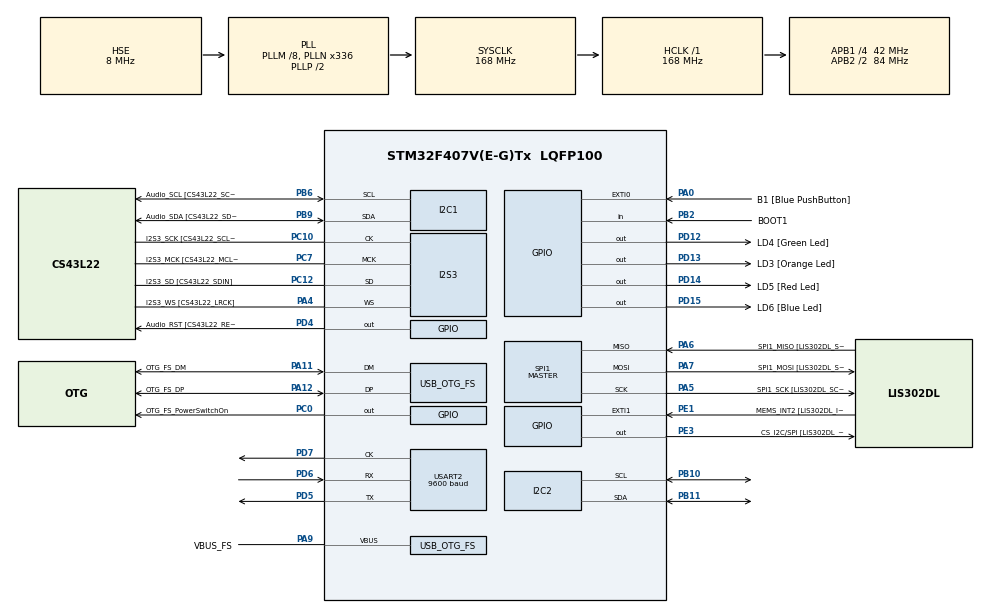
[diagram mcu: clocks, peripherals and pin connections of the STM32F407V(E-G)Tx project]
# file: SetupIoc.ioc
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I2S3.AudioFreq-Half_Duplex_Master=I2S_AUDIOFREQ_96K
I2S3.ErrorAudioFreq=-2.34 %
I2S3.ErrorAudioFreq-Half_Duplex_Master=0.8 %
I2S3.FullDuplexMode=I2S_FULLDUPLEXMODE_DISABLE
I2S3.Instance=SPI$Index
I2S3.RealAudioFreq=93.75 KHz
I2S3.RealAudioFreq-Half_Duplex_Master=96.774 KHz
I2S3.VirtualMode=I2S_MODE_MASTER
Mcu.Family=STM32F4
Mcu.Name=STM32F407V(E-G)Tx
Mcu.Package=LQFP100
NVIC.OTG_FS_IRQn=true\:0\:0\:false\:false\:true\:true\:true\:true
NVIC.PriorityGroup=NVIC_PRIORITYGROUP_0
PA0-WKUP.GPIO_Label=B1 [Blue PushButton]
PA0-WKUP.GPIO_ModeDefaultEXTI=GPIO_MODE_EVT_RISING
PA0-WKUP.GPIO_PuPd=GPIO_NOPULL
PA0-WKUP.Signal=GPXTI0
PA10.GPIO_Label=OTG_FS_ID
PA10.GPIO_Mode=GPIO_MODE_AF_PP
PA10.GPIO_PuPd=GPIO_NOPULL
PA10.GPIO_Speed=GPIO_SPEED_FREQ_LOW
PA10.Signal=USB_OTG_FS_ID
PA11.GPIO_Label=OTG_FS_DM
PA11.GPIO_Mode=GPIO_MODE_AF_PP
PA11.GPIO_PuPd=GPIO_NOPULL
PA11.GPIO_Speed=GPIO_SPEED_FREQ_LOW
PA11.Mode=Host_Only
PA11.Signal=USB_OTG_FS_DM
PA12.GPIO_Label=OTG_FS_DP
PA12.GPIO_Mode=GPIO_MODE_AF_PP
PA12.GPIO_PuPd=GPIO_NOPULL
PA12.GPIO_Speed=GPIO_SPEED_FREQ_LOW
PA12.Mode=Host_Only
PA12.Signal=USB_OTG_FS_DP
PA13.GPIO_Label=SWDIO
PA13.Mode=Serial_Wire
PA13.Signal=SYS_JTMS-SWDIO
PA14.GPIO_Label=SWCLK
PA14.Mode=Serial_Wire
PA14.Signal=SYS_JTCK-SWCLK
PA4.GPIO_Label=I2S3_WS [CS43L22_LRCK]
PA4.GPIO_Mode=GPIO_MODE_AF_PP
PA4.GPIO_PuPd=GPIO_NOPULL
PA4.GPIO_Speed=GPIO_SPEED_FREQ_LOW
PA4.Mode=Half_Duplex_Master
PA4.Signal=I2S3_WS
PA5.GPIO_Label=SPI1_SCK [LIS302DL_SCL/SPC]
PA5.GPIO_Mode=GPIO_MODE_AF_PP
PA5.GPIO_PuPd=GPIO_NOPULL
PA5.GPIO_Speed=GPIO_SPEED_FREQ_LOW
PA5.Mode=Full_Duplex_Master
PA5.Signal=SPI1_SCK
PA6.GPIO_Label=SPI1_MISO [LIS302DL_SDO]
PA6.GPIO_Mode=GPIO_MODE_AF_PP
PA6.GPIO_PuPd=GPIO_NOPULL
PA6.GPIO_Speed=GPIO_SPEED_FREQ_LOW
PA6.Mode=Full_Duplex_Master
PA6.Signal=SPI1_MISO
PA7.GPIO_Label=SPI1_MOSI [LIS302DL_SDA/SDI/SDO]
PA7.GPIO_Mode=GPIO_MODE_AF_PP
PA7.GPIO_PuPd=GPIO_NOPULL
PA7.GPIO_Speed=GPIO_SPEED_FREQ_LOW
PA7.Mode=Full_Duplex_Master
PA7.Signal=SPI1_MOSI
PA9.GPIO_Label=VBUS_FS
PA9.GPIO_Mode=GPIO_MODE_INPUT
PA9.GPIO_PuPd=GPIO_NOPULL
PA9.Mode=Activate_VBUS
PA9.Signal=USB_OTG_FS_VBUS
PB10.Mode=I2C
PB10.Signal=I2C2_SCL
PB11.Mode=I2C
PB11.Signal=I2C2_SDA
PB2.GPIO_Label=BOOT1
PB2.GPIO_Mode=GPIO_MODE_INPUT
PB2.GPIO_PuPd=GPIO_NOPULL
PB2.Signal=GPIO_Input
PB3.GPIO_Label=SWO
PB3.Signal=SYS_JTDO-SWO
PB6.GPIO_Label=Audio_SCL [CS43L22_SCL]
PB6.GPIO_Mode=GPIO_MODE_AF_OD
PB6.GPIO_Pu=GPIO_PULLUP
PB6.GPIO_PuPd=GPIO_NOPULL
PB6.GPIO_Speed=GPIO_SPEED_FREQ_LOW
PB6.Mode=I2C
PB6.Signal=I2C1_SCL
PB9.GPIO_Label=Audio_SDA [CS43L22_SDA]
PB9.GPIO_Mode=GPIO_MODE_AF_OD
PB9.GPIO_Pu=GPIO_PULLUP
PB9.GPIO_PuPd=GPIO_NOPULL
PB9.GPIO_Speed=GPIO_SPEED_FREQ_LOW
PB9.Mode=I2C
PB9.Signal=I2C1_SDA
PC0.GPIO_Label=OTG_FS_PowerSwitchOn
PC0.GPIO_PuPd=GPIO_NOPULL
PC0.GPIO_Speed=GPIO_SPEED_FREQ_LOW
PC0.PinState=GPIO_PIN_SET
PC0.Signal=GPIO_Output
PC10.GPIO_Label=I2S3_SCK [CS43L22_SCLK]
PC10.GPIO_Mode=GPIO_MODE_AF_PP
PC10.GPIO_PuPd=GPIO_NOPULL
PC10.GPIO_Speed=GPIO_SPEED_FREQ_LOW
PC10.Mode=Half_Duplex_Master
PC10.Signal=I2S3_CK
PC12.GPIO_Label=I2S3_SD [CS43L22_SDIN]
PC12.GPIO_Mode=GPIO_MODE_AF_PP
PC12.GPIO_PuPd=GPIO_NOPULL
PC12.GPIO_Speed=GPIO_SPEED_FREQ_LOW
PC12.Mode=Half_Duplex_Master
PC12.Signal=I2S3_SD
PC14-OSC32_IN.GPIO_Label=PC14-OSC32_IN
PC14-OSC32_IN.Mode=LSE-External-Oscillator
PC14-OSC32_IN.Signal=RCC_OSC32_IN
PC15-OSC32_OUT.GPIO_Label=PC15-OSC32_OUT
PC15-OSC32_OUT.Mode=LSE-External-Oscillator
PC15-OSC32_OUT.Signal=RCC_OSC32_OUT
PC3.GPIO_Label=PDM_OUT [MP45DT02_DOUT]
PC3.GPIO_Mode=GPIO_MODE_AF_PP
PC3.GPIO_PuPd=GPIO_NOPULL
PC3.GPIO_Speed=GPIO_SPEED_FREQ_LOW
PC3.Signal=I2S2_SD
PC7.GPIO_Label=I2S3_MCK [CS43L22_MCLK]
PC7.GPIO_Mode=GPIO_MODE_AF_PP
PC7.GPIO_PuPd=GPIO_NOPULL
PC7.GPIO_Speed=GPIO_SPEED_FREQ_LOW
PC7.Mode=Master_Clock_Activated
PC7.Signal=I2S3_MCK
PD12.GPIO_Label=LD4 [Green Led]
PD12.GPIO_PuPd=GPIO_NOPULL
PD12.GPIO_Speed=GPIO_SPEED_FREQ_LOW
PD12.Signal=GPIO_Output
PD13.GPIO_Label=LD3 [Orange Led]
PD13.GPIO_PuPd=GPIO_NOPULL
PD13.GPIO_Speed=GPIO_SPEED_FREQ_LOW
PD13.Signal=GPIO_Output
PD14.GPIO_Label=LD5 [Red Led]
PD14.GPIO_PuPd=GPIO_NOPULL
PD14.GPIO_Speed=GPIO_SPEED_FREQ_LOW
PD14.Signal=GPIO_Output
PD15.GPIO_Label=LD6 [Blue Led]
PD15.GPIO_PuPd=GPIO_NOPULL
PD15.GPIO_Speed=GPIO_SPEED_FREQ_LOW
PD15.Signal=GPIO_Output
PD4.GPIO_Label=Audio_RST [CS43L22_RESET]
PD4.GPIO_PuPd=GPIO_NOPULL
PD4.GPIO_Speed=GPIO_SPEED_FREQ_LOW
PD4.Signal=GPIO_Output
PD5.Mode=Synchronous
PD5.Signal=USART2_TX
PD6.Mode=Synchronous
PD6.Signal=USART2_RX
PD7.Mode=Synchronous
PD7.Signal=USART2_CK
PE1.GPIO_Label=MEMS_INT2 [LIS302DL_INT2]
PE1.GPIO_ModeDefaultEXTI=GPIO_MODE_EVT_RISING
PE1.GPIO_PuPd=GPIO_NOPULL
PE1.Signal=GPXTI1
PE3.GPIO_Label=CS_I2C/SPI [LIS302DL_CS_I2C/SPI]
PE3.GPIO_PuPd=GPIO_NOPULL
PE3.GPIO_Speed=GPIO_SPEED_FREQ_LOW
PE3.Signal=GPIO_Output
PH0-OSC_IN.GPIO_Label=PH0-OSC_IN
PH0-OSC_IN.Mode=HSE-External-Oscillator
PH0-OSC_IN.Signal=RCC_OSC_IN
PH1-OSC_OUT.GPIO_Label=PH1-OSC_OUT
PH1-OSC_OUT.Mode=HSE-External-Oscillator
PH1-OSC_OUT.Signal=RCC_OSC_OUT
ProjectManager.HeapSize=0x200
ProjectManager.StackSize=0x400
ProjectManager.TargetToolchain=STM32CubeIDE
RCC.48MHZClocksFreq_Value=48000000
RCC.AHBFreq_Value=168000000
RCC.APB1CLKDivider=RCC_HCLK_DIV4
RCC.APB1Freq_Value=42000000
RCC.APB1TimFreq_Value=84000000
RCC.APB2CLKDivider=RCC_HCLK_DIV2
RCC.APB2Freq_Value=84000000
RCC.APB2TimFreq_Value=168000000
RCC.CortexFreq_Value=168000000
RCC.HCLKFreq_Value=168000000
RCC.HSE_VALUE=8000000
RCC.HSI_VALUE=16000000
RCC.PLLM=8
RCC.PLLN=336
RCC.PLLQ=7
RCC.SYSCLKFreq_VALUE=168000000
RCC.SYSCLKSource=RCC_SYSCLKSOURCE_PLLCLK
RCC.VCOOutputFreq_Value=336000000
SPI1.BaudRatePrescaler-Full_Duplex_Master=SPI_BAUDRATEPRESCALER_2
SPI1.CalculateBaudRate-Full_Duplex_Master=42.0 MBits/s
SPI1.Direction=SPI_DIRECTION_2LINES
SPI1.Mode=SPI_MODE_MASTER
SPI1.Mode-Full_Duplex_Master=SPI_MODE_MASTER
SPI1.VirtualType=VM_MASTER
USART2.BaudRate=9600
USART2.VirtualMode=VM_SYNC
USB_HOST.BSP.number=1
USB_HOST.USBH_HandleTypeDef-CDC_FS=hUsbHostFS
USB_HOST.VirtualModeFS=Cdc
USB_HOST0.BSP.STBoard=false
USB_HOST0.BSP.api=Unknown
USB_HOST0.BSP.instance=PC0
USB_HOST0.BSP.ip=GPIO
USB_HOST0.BSP.mode=Output
USB_HOST0.BSP.name=Drive_VBUS_FS
USB_HOST0.BSP.solution=PC0
USB_OTG_FS.VirtualMode=Host_Only
USB_OTG_FS.phy_itface=HCD_PHY_EMBEDDED
VP_USB_HOST_VS_USB_HOST_CDC_FS.Mode=CDC_FS
board=STM32F407G-DISC1

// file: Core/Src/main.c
/* USER CODE BEGIN Header */
/**
  ******************************************************************************
  * @file           : main.c
  * @brief          : Main program body
  ******************************************************************************
  * @attention
  *
  * Copyright (c) 2022 STMicroelectronics.
  * All rights reserved.
  *
  * This software is licensed under terms that can be found in the LICENSE file
  * in the root directory of this software component.
  * If no LICENSE file comes with this software, it is provided AS-IS.
  *
  ******************************************************************************
  */
/* USER CODE END Header */
#include "main.h"
#include "usb_host.h"

/* USER CODE BEGIN Includes */

#include <stdio.h>
#include <string.h>
#include <math.h>

/* USER CODE END Includes */

/* USER CODE BEGIN PD */
#define MIN_TEMP 23.0
#define MAX_TEMP 30.0
#define MID_TEMP 26.0
/* USER CODE END PD */

I2C_HandleTypeDef hi2c1;
I2C_HandleTypeDef hi2c2;

I2S_HandleTypeDef hi2s3;

SPI_HandleTypeDef hspi1;

USART_HandleTypeDef husart2;

void SystemClock_Config(void);
static void MX_GPIO_Init(void);
static void MX_I2C1_Init(void);
static void MX_I2S3_Init(void);
static void MX_SPI1_Init(void);
static void MX_USART2_Init(void);
static void MX_I2C2_Init(void);
void MX_USB_HOST_Process(void);

/* USER CODE BEGIN PFP */
#define PUTCHAR_PROTOTYPE int __io_putchar(int ch)
/* USER CODE END PFP */

/* USER CODE BEGIN 0 */

int globalPosition = 0;
volatile int bState;
static unsigned int numOfRequests = 0;
volatile double desiredTemp = MID_TEMP;

double calculate_Temp(uint8_t* buffer)
{
	uint8_t sign = *buffer >> 7;
	uint8_t whole = 0;
	uint8_t decimal = 0;
	double temp = 0.0;

	if(*(buffer + 1) != 0)
		decimal = 5;

	whole = (*buffer) & 0x7F;

	if(sign == 1) {
		printf("Trenutna: -%u.%u C ", (uint8_t)whole, (uint8_t)decimal);
	} else {
		printf("Trenutna: %u.%u°C ", (uint8_t)whole, (uint8_t)decimal);
	}

	if(*(buffer + 1) != 0)
		temp = 0.5;

	temp = temp + whole;
	if(sign == 1)
		temp = -temp;

	return temp;
}

int point(double temp) {
	if((int)temp != ceil(temp))
		return 5;
	return 0;
}

void init_EXTI4() {
	NVIC_SetPriority(EXTI4_IRQn, 6);
	NVIC_EnableIRQ(EXTI4_IRQn);

	SYSCFG->EXTICR[1] |= 0x4;
	EXTI->FTSR |= 1 << 4;
	EXTI->IMR |= 1UL << 4;
}

void serveEncoder(void)
{
	if(bState == 1)
		globalPosition++;
	else
		globalPosition--;

	if(MID_TEMP + 0.5 * globalPosition < MIN_TEMP) {
		globalPosition++;
		return;
	}

	if(MID_TEMP + 0.5 * globalPosition > MAX_TEMP) {
		globalPosition--;
		return;
	}

	desiredTemp = MID_TEMP + 0.5 * globalPosition;
}

void __attribute__((interrupt)) EXTI4_IRQHandler(void) {
	bState = (GPIOE->IDR >> 5) & 0x1;

	serveEncoder();

	printf("Interrupt number: %u \r\n", numOfRequests++);
	EXTI->PR |= (1 << 4);
}

/* USER CODE END 0 */

int main(void)
{

  /* MCU Configuration--------------------------------------------------------*/

  /* Reset of all peripherals, Initializes the Flash interface and the Systick. */
  HAL_Init();

  /* Configure the system clock */
  SystemClock_Config();

  /* USER CODE BEGIN SysInit */
  RCC->APB2ENR |= (0x1 << 14);
  RCC->AHB1ENR |= (0x1 << 4);
  RCC->AHB1ENR |= (0x1 << 3);
  RCC->AHB1ENR |= (0x1 << 2);
  volatile uint32_t tmp = RCC->AHB1ENR;
  GPIOC->MODER |= (0x1 << 2);
  GPIOD->MODER |= (0x0);
  GPIOE->MODER |= (0x0 << 8);
  GPIOE->MODER |= (0x0 << 10);

  /* USER CODE END SysInit */

  /* Initialize all configured peripherals */
  MX_GPIO_Init();
  MX_I2C1_Init();
  MX_I2S3_Init();
  MX_SPI1_Init();
  MX_USB_HOST_Init();
  MX_USART2_Init();
  MX_I2C2_Init();
  /* USER CODE BEGIN 2 */

  init_EXTI4();

  static const uint8_t THERMOMETER_SLAVE_ADDR = 0b01001000 << 1;
  static const uint8_t THERMOMETER_REG = 0x00;

  HAL_StatusTypeDef ret;
  uint8_t buffer[12];
  volatile double currentTemp = 0.0;

  /* USER CODE END 2 */

  /* Infinite loop */
  /* USER CODE BEGIN WHILE */
  while (1)
  {
	  buffer[0] = THERMOMETER_REG;
	  ret = HAL_I2C_Master_Transmit(&hi2c2, THERMOMETER_SLAVE_ADDR, buffer, 1, HAL_MAX_DELAY);

	  if(ret != HAL_OK) {
		  strcpy ((char*) buffer, "Error Tx \r\n");
	  } else {
		  ret = HAL_I2C_Master_Receive(&hi2c2, THERMOMETER_SLAVE_ADDR, buffer, 2, HAL_MAX_DELAY);

		  if(ret != HAL_OK) {
			  strcpy((char*) buffer, "Error Tx \r\n");
		  } else {
			  currentTemp = calculate_Temp(buffer);
		  }
	  }

	  printf("| Željena: %u.%u °C\r\n", (int)desiredTemp, point(desiredTemp));

	  if(currentTemp < desiredTemp || tmp == 0)
		  GPIOC->ODR |= (0x1 << 1);
	  else
		  GPIOC->ODR &= ~(0x1 << 1);

	  HAL_Delay(300);
    /* USER CODE END WHILE */
	  MX_USB_HOST_Process();

  }
}

void SystemClock_Config(void)
{
  RCC_OscInitTypeDef RCC_OscInitStruct = {0};
  RCC_ClkInitTypeDef RCC_ClkInitStruct = {0};

  /** Configure the main internal regulator output voltage
  */
  __HAL_RCC_PWR_CLK_ENABLE();
  __HAL_PWR_VOLTAGESCALING_CONFIG(PWR_REGULATOR_VOLTAGE_SCALE1);

  /** Initializes the RCC Oscillators according to the specified parameters
  * in the RCC_OscInitTypeDef structure.
  */
  RCC_OscInitStruct.OscillatorType = RCC_OSCILLATORTYPE_HSE;
  RCC_OscInitStruct.HSEState = RCC_HSE_ON;
  RCC_OscInitStruct.PLL.PLLState = RCC_PLL_ON;
  RCC_OscInitStruct.PLL.PLLSource = RCC_PLLSOURCE_HSE;
  RCC_OscInitStruct.PLL.PLLM = 8;
  RCC_OscInitStruct.PLL.PLLN = 336;
  RCC_OscInitStruct.PLL.PLLP = RCC_PLLP_DIV2;
  RCC_OscInitStruct.PLL.PLLQ = 7;
  if (HAL_RCC_OscConfig(&RCC_OscInitStruct) != HAL_OK)
  {
    Error_Handler();
  }

  /** Initializes the CPU, AHB and APB buses clocks
  */
  RCC_ClkInitStruct.ClockType = RCC_CLOCKTYPE_HCLK|RCC_CLOCKTYPE_SYSCLK
                              |RCC_CLOCKTYPE_PCLK1|RCC_CLOCKTYPE_PCLK2;
  RCC_ClkInitStruct.SYSCLKSource = RCC_SYSCLKSOURCE_PLLCLK;
  RCC_ClkInitStruct.AHBCLKDivider = RCC_SYSCLK_DIV1;
  RCC_ClkInitStruct.APB1CLKDivider = RCC_HCLK_DIV4;
  RCC_ClkInitStruct.APB2CLKDivider = RCC_HCLK_DIV2;

  if (HAL_RCC_ClockConfig(&RCC_ClkInitStruct, FLASH_LATENCY_5) != HAL_OK)
  {
    Error_Handler();
  }
}

static void MX_I2C1_Init(void)
{

  hi2c1.Instance = I2C1;
  hi2c1.Init.ClockSpeed = 100000;
  hi2c1.Init.DutyCycle = I2C_DUTYCYCLE_2;
  hi2c1.Init.OwnAddress1 = 0;
  hi2c1.Init.AddressingMode = I2C_ADDRESSINGMODE_7BIT;
  hi2c1.Init.DualAddressMode = I2C_DUALADDRESS_DISABLE;
  hi2c1.Init.OwnAddress2 = 0;
  hi2c1.Init.GeneralCallMode = I2C_GENERALCALL_DISABLE;
  hi2c1.Init.NoStretchMode = I2C_NOSTRETCH_DISABLE;
  if (HAL_I2C_Init(&hi2c1) != HAL_OK)
  {
    Error_Handler();
  }

}

static void MX_I2C2_Init(void)
{

  hi2c2.Instance = I2C2;
  hi2c2.Init.ClockSpeed = 100000;
  hi2c2.Init.DutyCycle = I2C_DUTYCYCLE_2;
  hi2c2.Init.OwnAddress1 = 0;
  hi2c2.Init.AddressingMode = I2C_ADDRESSINGMODE_7BIT;
  hi2c2.Init.DualAddressMode = I2C_DUALADDRESS_DISABLE;
  hi2c2.Init.OwnAddress2 = 0;
  hi2c2.Init.GeneralCallMode = I2C_GENERALCALL_DISABLE;
  hi2c2.Init.NoStretchMode = I2C_NOSTRETCH_DISABLE;
  if (HAL_I2C_Init(&hi2c2) != HAL_OK)
  {
    Error_Handler();
  }

}

static void MX_I2S3_Init(void)
{

  hi2s3.Instance = SPI3;
  hi2s3.Init.Mode = I2S_MODE_MASTER_TX;
  hi2s3.Init.Standard = I2S_STANDARD_PHILIPS;
  hi2s3.Init.DataFormat = I2S_DATAFORMAT_16B;
  hi2s3.Init.MCLKOutput = I2S_MCLKOUTPUT_ENABLE;
  hi2s3.Init.AudioFreq = I2S_AUDIOFREQ_96K;
  hi2s3.Init.CPOL = I2S_CPOL_LOW;
  hi2s3.Init.ClockSource = I2S_CLOCK_PLL;
  hi2s3.Init.FullDuplexMode = I2S_FULLDUPLEXMODE_DISABLE;
  if (HAL_I2S_Init(&hi2s3) != HAL_OK)
  {
    Error_Handler();
  }

}

static void MX_SPI1_Init(void)
{

  /* SPI1 parameter configuration*/
  hspi1.Instance = SPI1;
  hspi1.Init.Mode = SPI_MODE_MASTER;
  hspi1.Init.Direction = SPI_DIRECTION_2LINES;
  hspi1.Init.DataSize = SPI_DATASIZE_8BIT;
  hspi1.Init.CLKPolarity = SPI_POLARITY_LOW;
  hspi1.Init.CLKPhase = SPI_PHASE_1EDGE;
  hspi1.Init.NSS = SPI_NSS_SOFT;
  hspi1.Init.BaudRatePrescaler = SPI_BAUDRATEPRESCALER_2;
  hspi1.Init.FirstBit = SPI_FIRSTBIT_MSB;
  hspi1.Init.TIMode = SPI_TIMODE_DISABLE;
  hspi1.Init.CRCCalculation = SPI_CRCCALCULATION_DISABLE;
  hspi1.Init.CRCPolynomial = 10;
  if (HAL_SPI_Init(&hspi1) != HAL_OK)
  {
    Error_Handler();
  }

}

static void MX_USART2_Init(void)
{

  husart2.Instance = USART2;
  husart2.Init.BaudRate = 9600;
  husart2.Init.WordLength = USART_WORDLENGTH_8B;
  husart2.Init.StopBits = USART_STOPBITS_1;
  husart2.Init.Parity = USART_PARITY_NONE;
  husart2.Init.Mode = USART_MODE_TX_RX;
  husart2.Init.CLKPolarity = USART_POLARITY_LOW;
  husart2.Init.CLKPhase = USART_PHASE_1EDGE;
  husart2.Init.CLKLastBit = USART_LASTBIT_DISABLE;
  if (HAL_USART_Init(&husart2) != HAL_OK)
  {
    Error_Handler();
  }

}

static void MX_GPIO_Init(void)
{
  GPIO_InitTypeDef GPIO_InitStruct = {0};

  /* GPIO Ports Clock Enable */
  __HAL_RCC_GPIOE_CLK_ENABLE();
  __HAL_RCC_GPIOC_CLK_ENABLE();
  __HAL_RCC_GPIOH_CLK_ENABLE();
  __HAL_RCC_GPIOA_CLK_ENABLE();
  __HAL_RCC_GPIOB_CLK_ENABLE();
  __HAL_RCC_GPIOD_CLK_ENABLE();

  /*Configure GPIO pin Output Level */
  HAL_GPIO_WritePin(CS_I2C_SPI_GPIO_Port, CS_I2C_SPI_Pin, GPIO_PIN_RESET);

  /*Configure GPIO pin Output Level */
  HAL_GPIO_WritePin(OTG_FS_PowerSwitchOn_GPIO_Port, OTG_FS_PowerSwitchOn_Pin, GPIO_PIN_SET);

  /*Configure GPIO pin Output Level */
  HAL_GPIO_WritePin(GPIOD, LD4_Pin|LD3_Pin|LD5_Pin|LD6_Pin
                          |Audio_RST_Pin, GPIO_PIN_RESET);

  /*Configure GPIO pin : CS_I2C_SPI_Pin */
  GPIO_InitStruct.Pin = CS_I2C_SPI_Pin;
  GPIO_InitStruct.Mode = GPIO_MODE_OUTPUT_PP;
  GPIO_InitStruct.Pull = GPIO_NOPULL;
  GPIO_InitStruct.Speed = GPIO_SPEED_FREQ_LOW;
  HAL_GPIO_Init(CS_I2C_SPI_GPIO_Port, &GPIO_InitStruct);

  /*Configure GPIO pin : OTG_FS_PowerSwitchOn_Pin */
  GPIO_InitStruct.Pin = OTG_FS_PowerSwitchOn_Pin;
  GPIO_InitStruct.Mode = GPIO_MODE_OUTPUT_PP;
  GPIO_InitStruct.Pull = GPIO_NOPULL;
  GPIO_InitStruct.Speed = GPIO_SPEED_FREQ_LOW;
  HAL_GPIO_Init(OTG_FS_PowerSwitchOn_GPIO_Port, &GPIO_InitStruct);

  /*Configure GPIO pin : PDM_OUT_Pin */
  GPIO_InitStruct.Pin = PDM_OUT_Pin;
  GPIO_InitStruct.Mode = GPIO_MODE_AF_PP;
  GPIO_InitStruct.Pull = GPIO_NOPULL;
  GPIO_InitStruct.Speed = GPIO_SPEED_FREQ_LOW;
  GPIO_InitStruct.Alternate = GPIO_AF5_SPI2;
  HAL_GPIO_Init(PDM_OUT_GPIO_Port, &GPIO_InitStruct);

  /*Configure GPIO pin : B1_Pin */
  GPIO_InitStruct.Pin = B1_Pin;
  GPIO_InitStruct.Mode = GPIO_MODE_EVT_RISING;
  GPIO_InitStruct.Pull = GPIO_NOPULL;
  HAL_GPIO_Init(B1_GPIO_Port, &GPIO_InitStruct);

  /*Configure GPIO pin : BOOT1_Pin */
  GPIO_InitStruct.Pin = BOOT1_Pin;
  GPIO_InitStruct.Mode = GPIO_MODE_INPUT;
  GPIO_InitStruct.Pull = GPIO_NOPULL;
  HAL_GPIO_Init(BOOT1_GPIO_Port, &GPIO_InitStruct);

  /*Configure GPIO pins : LD4_Pin LD3_Pin LD5_Pin LD6_Pin
                           Audio_RST_Pin */
  GPIO_InitStruct.Pin = LD4_Pin|LD3_Pin|LD5_Pin|LD6_Pin
                          |Audio_RST_Pin;
  GPIO_InitStruct.Mode = GPIO_MODE_OUTPUT_PP;
  GPIO_InitStruct.Pull = GPIO_NOPULL;
  GPIO_InitStruct.Speed = GPIO_SPEED_FREQ_LOW;
  HAL_GPIO_Init(GPIOD, &GPIO_InitStruct);

  /*Configure GPIO pin : MEMS_INT2_Pin */
  GPIO_InitStruct.Pin = MEMS_INT2_Pin;
  GPIO_InitStruct.Mode = GPIO_MODE_EVT_RISING;
  GPIO_InitStruct.Pull = GPIO_NOPULL;
  HAL_GPIO_Init(MEMS_INT2_GPIO_Port, &GPIO_InitStruct);

}

/* USER CODE BEGIN 4 */

	PUTCHAR_PROTOTYPE
	{
		HAL_USART_Transmit(&husart2, (uint8_t *)&ch, 1, 0xFFFF);
		return ch;
	}

/* USER CODE END 4 */

void Error_Handler(void)
{
  __disable_irq();
  while (1)
  {
  }
}
